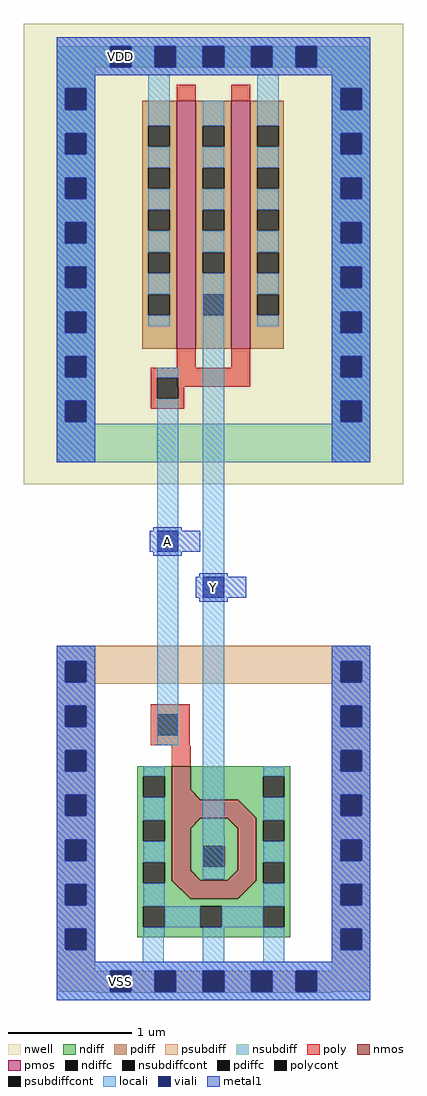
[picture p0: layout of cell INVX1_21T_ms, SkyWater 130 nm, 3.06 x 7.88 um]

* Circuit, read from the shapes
.subckt INVX1_21T_ms A Y VDD VSS
XM1 VSS A Y VSS sky130_fd_pr__nfet_01v8 w=2.555 l=0.15
XM2 Y A VDD VDD sky130_fd_pr__pfet_01v8 w=2 l=0.15 m=2
.ends

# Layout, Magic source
magic
tech sky130A
magscale 1 2
<< nwell >>
rect 84 832 360 1575
<< ndiff >>
rect 205 195 239 293
<< pdiffc >>
rect 205 1105 239 1139
<< psubdiff >>
rect 31 510 413 572
rect 31 13 55 47
rect 89 13 127 47
rect 161 13 205 47
rect 239 13 283 47
rect 317 13 355 47
rect 389 13 413 47
rect 31 12 413 13
<< nsubdiff >>
rect 31 1505 55 1539
rect 89 1505 127 1539
rect 161 1505 205 1539
rect 239 1505 283 1539
rect 317 1505 355 1539
rect 389 1505 413 1539
rect 31 868 413 930
<< psubdiffcont >>
rect 55 13 89 47
rect 127 13 161 47
rect 205 13 239 47
rect 283 13 317 47
rect 355 13 389 47
<< nsubdiffcont >>
rect 55 1505 89 1539
rect 127 1505 161 1539
rect 205 1505 239 1539
rect 283 1505 317 1539
rect 355 1505 389 1539
<< poly >>
rect 131 470 184 477
rect 121 416 184 470
rect 131 411 184 416
rect 154 410 184 411
<< locali >>
rect 31 1539 413 1554
rect 31 1505 55 1539
rect 89 1505 127 1539
rect 161 1505 205 1539
rect 239 1505 283 1539
rect 317 1505 355 1539
rect 389 1505 413 1539
rect 31 1492 413 1505
rect 131 477 165 954
rect 131 461 148 477
rect 131 427 165 461
rect 205 195 239 1090
rect 108 62 142 101
rect 205 62 239 117
rect 302 62 336 101
rect 31 47 413 62
rect 31 13 55 47
rect 89 13 127 47
rect 161 13 205 47
rect 239 13 283 47
rect 317 13 355 47
rect 389 13 413 47
rect 31 0 413 13
<< viali >>
rect 55 1505 89 1539
rect 127 1505 161 1539
rect 205 1505 239 1539
rect 283 1505 317 1539
rect 355 1505 389 1539
rect 55 13 89 47
rect 127 13 161 47
rect 205 13 239 47
rect 283 13 317 47
rect 355 13 389 47
<< metal1 >>
rect 31 1539 413 1554
rect 31 1505 55 1539
rect 89 1505 127 1539
rect 161 1505 205 1539
rect 239 1505 283 1539
rect 317 1505 355 1539
rect 389 1505 413 1539
rect 31 1492 413 1505
rect 131 723 165 757
rect 205 649 239 683
rect 31 47 413 62
rect 31 13 55 47
rect 89 13 127 47
rect 161 13 205 47
rect 239 13 283 47
rect 317 13 355 47
rect 389 13 413 47
rect 31 0 413 13
use li1_M1_contact_perp_ext  li1_M1_contact_perp_ext_1 pcells
transform 0 -1 222 1 0 666
box -23 -53 49 29
use li1_M1_contact_perp_ext  li1_M1_contact_perp_ext_0
transform 0 -1 148 1 0 740
box -23 -53 49 29
use poly_li1_contact  poly_li1_contact_1 pcells
transform 0 -1 148 1 0 444
box -33 -27 33 27
use poly_li1_contact  poly_li1_contact_0
transform 0 1 148 -1 0 987
box -33 -27 33 27
use pmos2_2uq  pmos2_2uq_0 pcells
transform 1 0 19 0 1 1450
box 52 -460 352 42
use nmos_top  nmos_top_0 pcells
transform -1 0 345 0 1 101
box -1 0 247 309
use diff_ring_side  diff_ring_side_1 pcells
transform 1 0 0 0 1 0
box -84 0 84 1575
use diff_ring_side  diff_ring_side_0
transform 1 0 444 0 1 0
box -84 0 84 1575
<< labels >>
rlabel metal1 148 740 148 740 1 A
port 1 n
rlabel metal1 222 666 222 666 1 Y
port 2 n
rlabel metal1 72 1522 72 1522 1 VDD
port 3 n
rlabel metal1 72 30 72 30 1 VSS
port 4 n
<< end >>

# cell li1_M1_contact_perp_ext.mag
magic
tech sky130
magscale 1 2
<< locali >>
rect 17 -17 49 17
<< viali >>
rect -17 -17 17 17
<< metal1 >>
rect -17 23 17 29
rect -23 17 23 23
rect -23 -17 -17 17
rect 17 -17 23 17
rect -23 -23 23 -17
rect -17 -53 17 -23
<< end >>

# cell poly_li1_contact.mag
magic
tech sky130A
magscale 1 2
<< poly >>
rect -33 17 33 27
rect -33 -17 -17 17
rect 17 -17 33 17
rect -33 -27 33 -17
<< polycont >>
rect -17 -17 17 17
<< locali >>
rect -33 -17 -17 17
rect 17 -17 33 17
<< end >>

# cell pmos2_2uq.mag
magic
tech sky130A
magscale 1 2
<< nwell >>
rect 52 -435 352 37
<< pmos >>
rect 144 -399 174 1
rect 232 -399 262 1
<< pdiff >>
rect 88 -39 144 1
rect 88 -73 98 -39
rect 132 -73 144 -39
rect 88 -107 144 -73
rect 88 -141 98 -107
rect 132 -141 144 -107
rect 88 -175 144 -141
rect 88 -209 98 -175
rect 132 -209 144 -175
rect 88 -243 144 -209
rect 88 -277 98 -243
rect 132 -277 144 -243
rect 88 -311 144 -277
rect 88 -345 98 -311
rect 132 -345 144 -311
rect 88 -399 144 -345
rect 174 -39 232 1
rect 174 -73 186 -39
rect 220 -73 232 -39
rect 174 -107 232 -73
rect 174 -141 186 -107
rect 220 -141 232 -107
rect 174 -175 232 -141
rect 174 -209 186 -175
rect 220 -209 232 -175
rect 174 -243 232 -209
rect 174 -277 186 -243
rect 220 -277 232 -243
rect 174 -399 232 -277
rect 262 -39 316 1
rect 262 -73 274 -39
rect 308 -73 316 -39
rect 262 -107 316 -73
rect 262 -141 274 -107
rect 308 -141 316 -107
rect 262 -175 316 -141
rect 262 -209 274 -175
rect 308 -209 316 -175
rect 262 -243 316 -209
rect 262 -277 274 -243
rect 308 -277 316 -243
rect 262 -311 316 -277
rect 262 -345 274 -311
rect 308 -345 316 -311
rect 262 -399 316 -345
<< pdiffc >>
rect 98 -73 132 -39
rect 98 -141 132 -107
rect 98 -209 132 -175
rect 98 -277 132 -243
rect 98 -345 132 -311
rect 186 -73 220 -39
rect 186 -141 220 -107
rect 186 -209 220 -175
rect 186 -277 220 -243
rect 274 -73 308 -39
rect 274 -141 308 -107
rect 274 -209 308 -175
rect 274 -277 308 -243
rect 274 -345 308 -311
<< poly >>
rect 144 1 174 27
rect 232 1 262 27
rect 144 -430 174 -399
rect 232 -430 262 -399
rect 144 -460 262 -430
<< locali >>
rect 98 -39 132 42
rect 98 -107 132 -73
rect 98 -175 132 -141
rect 98 -243 132 -209
rect 98 -311 132 -277
rect 98 -363 132 -345
rect 186 -39 220 1
rect 186 -107 220 -73
rect 186 -175 220 -141
rect 186 -243 220 -209
rect 186 -363 220 -277
rect 274 -39 308 42
rect 274 -107 308 -73
rect 274 -175 308 -141
rect 274 -243 308 -209
rect 274 -311 308 -277
rect 274 -363 308 -345
<< end >>

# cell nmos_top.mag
magic
tech sky130
magscale 1 2
<< nmos >>
tri 144 222 160 238 se
rect 160 222 190 276
tri 54 192 84 222 se
rect 84 192 190 222
rect 54 92 84 192
tri 84 176 100 192 nw
tri 144 176 160 192 ne
tri 84 92 100 108 sw
tri 144 92 160 108 se
rect 160 92 190 192
tri 54 62 84 92 ne
rect 84 62 160 92
tri 160 62 190 92 nw
<< ndiff >>
rect -1 260 160 276
rect -1 226 9 260
rect 43 238 160 260
rect 43 226 144 238
rect -1 222 144 226
tri 144 222 160 238 nw
rect 190 260 246 276
rect 190 226 202 260
rect 236 226 246 260
rect -1 189 54 222
tri 54 192 84 222 nw
rect -1 155 9 189
rect 43 155 54 189
rect -1 121 54 155
rect -1 87 9 121
rect 43 87 54 121
tri 84 176 100 192 se
rect 100 176 144 192
tri 144 176 160 192 sw
rect 84 148 160 176
rect 84 114 105 148
rect 139 114 160 148
rect 84 108 160 114
tri 84 92 100 108 ne
rect 100 92 144 108
tri 144 92 160 108 nw
rect 190 189 246 226
rect 190 155 202 189
rect 236 155 246 189
rect 190 121 246 155
rect -1 62 54 87
tri 54 62 84 92 sw
tri 160 62 190 92 se
rect 190 87 202 121
rect 236 87 246 121
rect 190 62 246 87
rect -1 50 246 62
rect -1 16 9 50
rect 43 16 110 50
rect 144 16 202 50
rect 236 16 246 50
rect -1 0 246 16
<< ndiffc >>
rect 9 226 43 260
rect 202 226 236 260
rect 9 155 43 189
rect 9 87 43 121
rect 105 114 139 148
rect 202 155 236 189
rect 202 87 236 121
rect 9 16 43 50
rect 110 16 144 50
rect 202 16 236 50
<< poly >>
rect 160 276 190 309
<< locali >>
rect 9 260 43 276
rect 9 189 43 226
rect 202 260 236 276
rect 202 189 236 226
rect 9 121 43 155
rect 105 148 139 164
rect 105 98 139 114
rect 202 121 236 155
rect 9 50 43 87
rect 202 50 236 87
rect 43 16 110 50
rect 144 16 202 50
rect 9 0 43 16
rect 202 0 236 16
<< end >>

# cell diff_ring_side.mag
magic
tech sky130
magscale 1 2
<< nwell >>
rect -84 832 84 1575
<< psubdiff >>
rect -31 547 31 572
rect -31 513 -17 547
rect 17 513 31 547
rect -31 475 31 513
rect -31 441 -17 475
rect 17 441 31 475
rect -31 403 31 441
rect -31 369 -17 403
rect 17 369 31 403
rect -31 331 31 369
rect -31 297 -17 331
rect 17 297 31 331
rect -31 259 31 297
rect -31 225 -17 259
rect 17 225 31 259
rect -31 187 31 225
rect -31 153 -17 187
rect 17 153 31 187
rect -31 115 31 153
rect -31 81 -17 115
rect 17 81 31 115
rect -31 13 31 81
<< nsubdiff >>
rect -31 1471 31 1539
rect -31 1437 -17 1471
rect 17 1437 31 1471
rect -31 1399 31 1437
rect -31 1365 -17 1399
rect 17 1365 31 1399
rect -31 1327 31 1365
rect -31 1293 -17 1327
rect 17 1293 31 1327
rect -31 1255 31 1293
rect -31 1221 -17 1255
rect 17 1221 31 1255
rect -31 1183 31 1221
rect -31 1149 -17 1183
rect 17 1149 31 1183
rect -31 1111 31 1149
rect -31 1077 -17 1111
rect 17 1077 31 1111
rect -31 1039 31 1077
rect -31 1005 -17 1039
rect 17 1005 31 1039
rect -31 967 31 1005
rect -31 933 -17 967
rect 17 933 31 967
rect -31 868 31 933
<< psubdiffcont >>
rect -17 513 17 547
rect -17 441 17 475
rect -17 369 17 403
rect -17 297 17 331
rect -17 225 17 259
rect -17 153 17 187
rect -17 81 17 115
<< nsubdiffcont >>
rect -17 1437 17 1471
rect -17 1365 17 1399
rect -17 1293 17 1327
rect -17 1221 17 1255
rect -17 1149 17 1183
rect -17 1077 17 1111
rect -17 1005 17 1039
rect -17 933 17 967
<< locali >>
rect -31 1471 31 1554
rect -31 1437 -17 1471
rect 17 1437 31 1471
rect -31 1399 31 1437
rect -31 1365 -17 1399
rect 17 1365 31 1399
rect -31 1327 31 1365
rect -31 1293 -17 1327
rect 17 1293 31 1327
rect -31 1255 31 1293
rect -31 1221 -17 1255
rect 17 1221 31 1255
rect -31 1183 31 1221
rect -31 1149 -17 1183
rect 17 1149 31 1183
rect -31 1111 31 1149
rect -31 1077 -17 1111
rect 17 1077 31 1111
rect -31 1039 31 1077
rect -31 1005 -17 1039
rect 17 1005 31 1039
rect -31 967 31 1005
rect -31 933 -17 967
rect 17 933 31 967
rect -31 868 31 933
rect -31 547 31 572
rect -31 513 -17 547
rect 17 513 31 547
rect -31 475 31 513
rect -31 441 -17 475
rect 17 441 31 475
rect -31 403 31 441
rect -31 369 -17 403
rect 17 369 31 403
rect -31 331 31 369
rect -31 297 -17 331
rect 17 297 31 331
rect -31 259 31 297
rect -31 225 -17 259
rect 17 225 31 259
rect -31 187 31 225
rect -31 153 -17 187
rect 17 153 31 187
rect -31 115 31 153
rect -31 81 -17 115
rect 17 81 31 115
rect -31 0 31 81
<< viali >>
rect -17 1437 17 1471
rect -17 1365 17 1399
rect -17 1293 17 1327
rect -17 1221 17 1255
rect -17 1149 17 1183
rect -17 1077 17 1111
rect -17 1005 17 1039
rect -17 933 17 967
rect -17 513 17 547
rect -17 441 17 475
rect -17 369 17 403
rect -17 297 17 331
rect -17 225 17 259
rect -17 153 17 187
rect -17 81 17 115
<< metal1 >>
rect -31 1471 31 1554
rect -31 1437 -17 1471
rect 17 1437 31 1471
rect -31 1399 31 1437
rect -31 1365 -17 1399
rect 17 1365 31 1399
rect -31 1327 31 1365
rect -31 1293 -17 1327
rect 17 1293 31 1327
rect -31 1255 31 1293
rect -31 1221 -17 1255
rect 17 1221 31 1255
rect -31 1183 31 1221
rect -31 1149 -17 1183
rect 17 1149 31 1183
rect -31 1111 31 1149
rect -31 1077 -17 1111
rect 17 1077 31 1111
rect -31 1039 31 1077
rect -31 1005 -17 1039
rect 17 1005 31 1039
rect -31 967 31 1005
rect -31 933 -17 967
rect 17 933 31 967
rect -31 868 31 933
rect -31 547 31 572
rect -31 513 -17 547
rect 17 513 31 547
rect -31 475 31 513
rect -31 441 -17 475
rect 17 441 31 475
rect -31 403 31 441
rect -31 369 -17 403
rect 17 369 31 403
rect -31 331 31 369
rect -31 297 -17 331
rect 17 297 31 331
rect -31 259 31 297
rect -31 225 -17 259
rect 17 225 31 259
rect -31 187 31 225
rect -31 153 -17 187
rect 17 153 31 187
rect -31 115 31 153
rect -31 81 -17 115
rect 17 81 31 115
rect -31 0 31 81
<< end >>
